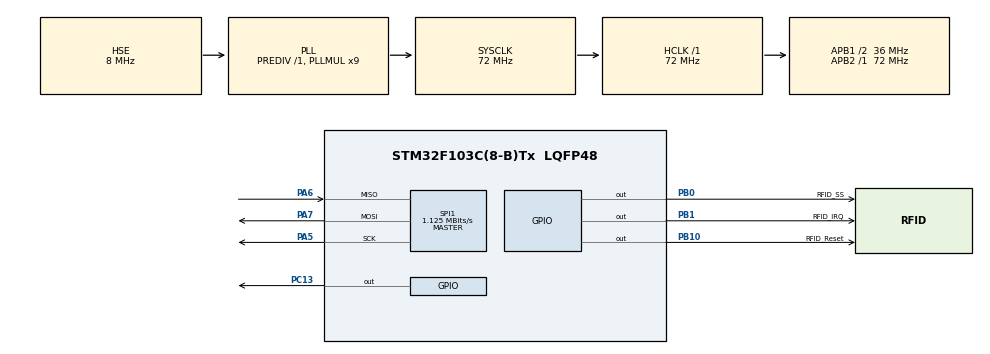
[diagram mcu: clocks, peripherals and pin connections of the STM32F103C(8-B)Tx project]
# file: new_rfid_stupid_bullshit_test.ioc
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Mcu.Family=STM32F1
Mcu.Name=STM32F103C(8-B)Tx
Mcu.Package=LQFP48
NVIC.PriorityGroup=NVIC_PRIORITYGROUP_4
PA5.Mode=Full_Duplex_Master
PA5.Signal=SPI1_SCK
PA6.Mode=Full_Duplex_Master
PA6.Signal=SPI1_MISO
PA7.Mode=Full_Duplex_Master
PA7.Signal=SPI1_MOSI
PB0.GPIO_Label=RFID_SS
PB0.Signal=GPIO_Output
PB1.GPIO_Label=RFID_IRQ
PB1.Signal=GPIO_Output
PB10.GPIO_Label=RFID_Reset
PB10.Signal=GPIO_Output
PC13-TAMPER-RTC.Signal=GPIO_Output
PD0-OSC_IN.Mode=HSE-External-Oscillator
PD0-OSC_IN.Signal=RCC_OSC_IN
PD1-OSC_OUT.Mode=HSE-External-Oscillator
PD1-OSC_OUT.Signal=RCC_OSC_OUT
ProjectManager.HeapSize=0x200
ProjectManager.StackSize=0x400
ProjectManager.TargetToolchain=STM32CubeIDE
RCC.AHBFreq_Value=72000000
RCC.APB1CLKDivider=RCC_HCLK_DIV2
RCC.APB1Freq_Value=36000000
RCC.APB1TimFreq_Value=72000000
RCC.APB2Freq_Value=72000000
RCC.APB2TimFreq_Value=72000000
RCC.HCLKFreq_Value=72000000
RCC.PLLMUL=RCC_PLL_MUL9
RCC.PLLSourceVirtual=RCC_PLLSOURCE_HSE
RCC.SYSCLKFreq_VALUE=72000000
RCC.SYSCLKSource=RCC_SYSCLKSOURCE_PLLCLK
RCC.USBFreq_Value=72000000
SPI1.BaudRatePrescaler=SPI_BAUDRATEPRESCALER_64
SPI1.CalculateBaudRate=1.125 MBits/s
SPI1.Direction=SPI_DIRECTION_2LINES
SPI1.FirstBit=SPI_FIRSTBIT_LSB
SPI1.Mode=SPI_MODE_MASTER
SPI1.VirtualType=VM_MASTER
VP_SYS_VS_ND.Mode=No_Debug
board=custom

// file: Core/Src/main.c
/* USER CODE BEGIN Header */
/**
  ******************************************************************************
  * @file           : main.c
  * @brief          : Main program body
  ******************************************************************************
  * @attention
  *
  * Copyright (c) 2024 STMicroelectronics.
  * All rights reserved.
  *
  * This software is licensed under terms that can be found in the LICENSE file
  * in the root directory of this software component.
  * If no LICENSE file comes with this software, it is provided AS-IS.
  *
  ******************************************************************************
  */
/* USER CODE END Header */
#include "main.h"

/* USER CODE BEGIN Includes */
#include "pn532_stm32f1.h"
#include <stdio.h>
#include "mylibrary.h"

/* USER CODE END Includes */

SPI_HandleTypeDef hspi1;

/* USER CODE BEGIN PV */
uint8_t buff[255];
uint8_t uid[MIFARE_UID_MAX_LENGTH];
int32_t uid_len = 0;
#define use_HEXADECIMAL
/* USER CODE END PV */

void SystemClock_Config(void);
static void MX_GPIO_Init(void);
static void MX_SPI1_Init(void);

int main(void)
{

  /* MCU Configuration--------------------------------------------------------*/

  /* Reset of all peripherals, Initializes the Flash interface and the Systick. */
  HAL_Init();

  /* Configure the system clock */
  SystemClock_Config();

  /* Initialize all configured peripherals */
  MX_GPIO_Init();
  MX_SPI1_Init();
  /* USER CODE BEGIN 2 */
  HAL_Delay(1000);
  memset(buffer, 0, sizeof(buffer));

  PN532 pn532;
  PN532_SPI_Init(&pn532);
  if (PN532_GetFirmwareVersion(&pn532, buff) != PN532_STATUS_OK)
  {
	  while(1)
	  {
		  HAL_GPIO_WritePin(GPIOC, GPIO_PIN_13, SET);
		  HAL_Delay(250);
		  HAL_GPIO_WritePin(GPIOC, GPIO_PIN_13, RESET);
		  HAL_Delay(250);
	  }
  }
  PN532_SamConfiguration(&pn532);
  /* USER CODE END 2 */

  /* Infinite loop */
  /* USER CODE BEGIN WHILE */
  while (1)
  {
	  uid_len = PN532_ReadPassiveTarget(&pn532, uid, PN532_MIFARE_ISO14443A, 1000);
	  HAL_Delay(10);
    /* USER CODE END WHILE */

  }
}

void SystemClock_Config(void)
{
  RCC_OscInitTypeDef RCC_OscInitStruct = {0};
  RCC_ClkInitTypeDef RCC_ClkInitStruct = {0};

  /** Initializes the RCC Oscillators according to the specified parameters
  * in the RCC_OscInitTypeDef structure.
  */
  RCC_OscInitStruct.OscillatorType = RCC_OSCILLATORTYPE_HSE;
  RCC_OscInitStruct.HSEState = RCC_HSE_ON;
  RCC_OscInitStruct.HSEPredivValue = RCC_HSE_PREDIV_DIV1;
  RCC_OscInitStruct.HSIState = RCC_HSI_ON;
  RCC_OscInitStruct.PLL.PLLState = RCC_PLL_ON;
  RCC_OscInitStruct.PLL.PLLSource = RCC_PLLSOURCE_HSE;
  RCC_OscInitStruct.PLL.PLLMUL = RCC_PLL_MUL9;
  if (HAL_RCC_OscConfig(&RCC_OscInitStruct) != HAL_OK)
  {
    Error_Handler();
  }

  /** Initializes the CPU, AHB and APB buses clocks
  */
  RCC_ClkInitStruct.ClockType = RCC_CLOCKTYPE_HCLK|RCC_CLOCKTYPE_SYSCLK
                              |RCC_CLOCKTYPE_PCLK1|RCC_CLOCKTYPE_PCLK2;
  RCC_ClkInitStruct.SYSCLKSource = RCC_SYSCLKSOURCE_PLLCLK;
  RCC_ClkInitStruct.AHBCLKDivider = RCC_SYSCLK_DIV1;
  RCC_ClkInitStruct.APB1CLKDivider = RCC_HCLK_DIV2;
  RCC_ClkInitStruct.APB2CLKDivider = RCC_HCLK_DIV1;

  if (HAL_RCC_ClockConfig(&RCC_ClkInitStruct, FLASH_LATENCY_2) != HAL_OK)
  {
    Error_Handler();
  }
}

static void MX_SPI1_Init(void)
{

  /* SPI1 parameter configuration*/
  hspi1.Instance = SPI1;
  hspi1.Init.Mode = SPI_MODE_MASTER;
  hspi1.Init.Direction = SPI_DIRECTION_2LINES;
  hspi1.Init.DataSize = SPI_DATASIZE_8BIT;
  hspi1.Init.CLKPolarity = SPI_POLARITY_LOW;
  hspi1.Init.CLKPhase = SPI_PHASE_1EDGE;
  hspi1.Init.NSS = SPI_NSS_SOFT;
  hspi1.Init.BaudRatePrescaler = SPI_BAUDRATEPRESCALER_64;
  hspi1.Init.FirstBit = SPI_FIRSTBIT_LSB;
  hspi1.Init.TIMode = SPI_TIMODE_DISABLE;
  hspi1.Init.CRCCalculation = SPI_CRCCALCULATION_DISABLE;
  hspi1.Init.CRCPolynomial = 10;
  if (HAL_SPI_Init(&hspi1) != HAL_OK)
  {
    Error_Handler();
  }

}

static void MX_GPIO_Init(void)
{
  GPIO_InitTypeDef GPIO_InitStruct = {0};

  /* GPIO Ports Clock Enable */
  __HAL_RCC_GPIOC_CLK_ENABLE();
  __HAL_RCC_GPIOD_CLK_ENABLE();
  __HAL_RCC_GPIOA_CLK_ENABLE();
  __HAL_RCC_GPIOB_CLK_ENABLE();

  /*Configure GPIO pin Output Level */
  HAL_GPIO_WritePin(GPIOC, GPIO_PIN_13, GPIO_PIN_RESET);

  /*Configure GPIO pin Output Level */
  HAL_GPIO_WritePin(GPIOB, RFID_SS_Pin|RFID_IRQ_Pin|RFID_Reset_Pin, GPIO_PIN_RESET);

  /*Configure GPIO pin : PC13 */
  GPIO_InitStruct.Pin = GPIO_PIN_13;
  GPIO_InitStruct.Mode = GPIO_MODE_OUTPUT_PP;
  GPIO_InitStruct.Pull = GPIO_NOPULL;
  GPIO_InitStruct.Speed = GPIO_SPEED_FREQ_LOW;
  HAL_GPIO_Init(GPIOC, &GPIO_InitStruct);

  /*Configure GPIO pins : RFID_SS_Pin RFID_IRQ_Pin RFID_Reset_Pin */
  GPIO_InitStruct.Pin = RFID_SS_Pin|RFID_IRQ_Pin|RFID_Reset_Pin;
  GPIO_InitStruct.Mode = GPIO_MODE_OUTPUT_PP;
  GPIO_InitStruct.Pull = GPIO_NOPULL;
  GPIO_InitStruct.Speed = GPIO_SPEED_FREQ_LOW;
  HAL_GPIO_Init(GPIOB, &GPIO_InitStruct);

}

void Error_Handler(void)
{
  __disable_irq();
  while (1)
  {
  }
}
